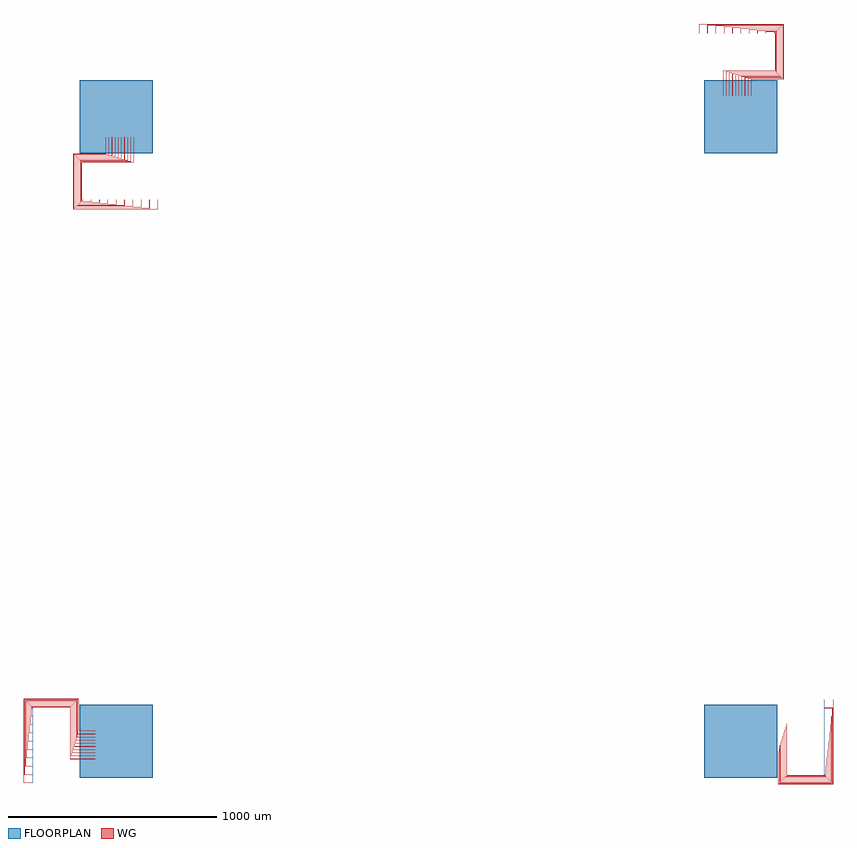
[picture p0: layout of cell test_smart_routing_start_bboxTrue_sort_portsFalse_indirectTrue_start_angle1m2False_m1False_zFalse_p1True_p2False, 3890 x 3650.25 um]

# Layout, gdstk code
import gdstk
lib = gdstk.Library(unit=1e-6, precision=1e-09)
def R(c, l, rs):  # rectangles x0, y0, x1, y1
    for r in rs: c.add(gdstk.rectangle(r[:2], r[2:], *l))
def P(c, l, *ps):  # polygons
    for p in ps: c.add(gdstk.Polygon(p, *l))
WG = (1, 0)
FLOORPLAN = (10, 0)

test_smart_routing_start = lib.new_cell('test_smart_routing_start_bboxTrue_sort_portsFalse_indirectTrue_start_angle1m2False_m1False_zFalse_p1True_p2False')
P(test_smart_routing_start, WG, [(-444.7,-199.95),(-444.7,204.95),(-179.3,204.95),(-179.3,49.95),(-100,49.95),(-100,49.75),(-179.5,49.75),(-179.5,204.75),(-444.5,204.75),(-444.5,-199.75),(-400,-199.75),(-400,-199.95)],
  [(-445,-200.25),(-445,205.25),(-179,205.25),(-179,50.25),(-100,50.25),(-100,50.05),(-179.2,50.05),(-179.2,205.05),(-444.8,205.05),(-444.8,-200.05),(-400,-200.05),(-400,-200.25)],
  [(-440.2,-159.95),(-440.2,200.45),(-183.8,200.45),(-183.8,34.95),(-100,34.95),(-100,34.75),(-184,34.75),(-184,200.25),(-440,200.25),(-440,-159.75),(-400,-159.75),(-400,-159.95)],
  [(-440.5,-160.25),(-440.5,200.75),(-183.5,200.75),(-183.5,35.25),(-100,35.25),(-100,35.05),(-183.7,35.05),(-183.7,200.55),(-440.3,200.55),(-440.3,-160.05),(-400,-160.05),(-400,-160.25)],
  [(-435.7,-119.95),(-435.7,195.95),(-188.3,195.95),(-188.3,19.95),(-100,19.95),(-100,19.75),(-188.5,19.75),(-188.5,195.75),(-435.5,195.75),(-435.5,-119.75),(-400,-119.75),(-400,-119.95)],
  [(-436,-120.25),(-436,196.25),(-188,196.25),(-188,20.25),(-100,20.25),(-100,20.05),(-188.2,20.05),(-188.2,196.05),(-435.8,196.05),(-435.8,-120.05),(-400,-120.05),(-400,-120.25)],
  [(-431.2,-79.95),(-431.2,191.45),(-192.8,191.45),(-192.8,4.95),(-100,4.95),(-100,4.75),(-193,4.75),(-193,191.25),(-431,191.25),(-431,-79.75),(-400,-79.75),(-400,-79.95)],
  [(-431.5,-80.25),(-431.5,191.75),(-192.5,191.75),(-192.5,5.25),(-100,5.25),(-100,5.05),(-192.7,5.05),(-192.7,191.55),(-431.3,191.55),(-431.3,-80.05),(-400,-80.05),(-400,-80.25)],
  [(-426.7,-39.95),(-426.7,186.95),(-197.3,186.95),(-197.3,-10.05),(-100,-10.05),(-100,-10.25),(-197.5,-10.25),(-197.5,186.75),(-426.5,186.75),(-426.5,-39.75),(-400,-39.75),(-400,-39.95)],
  [(-427,-40.25),(-427,187.25),(-197,187.25),(-197,-9.75),(-100,-9.75),(-100,-9.95),(-197.2,-9.95),(-197.2,187.05),(-426.8,187.05),(-426.8,-40.05),(-400,-40.05),(-400,-40.25)],
  [(-202,-25.25),(-202,182.25),(-422,182.25),(-422,0.25),(-400,0.25),(-400,0.05),(-422.2,0.05),(-422.2,182.45),(-201.8,182.45),(-201.8,-25.05),(-100,-25.05),(-100,-25.25)],
  [(-201.7,-24.95),(-201.7,182.55),(-422.3,182.55),(-422.3,-0.05),(-400,-0.05),(-400,-0.25),(-422.5,-0.25),(-422.5,182.75),(-201.5,182.75),(-201.5,-24.75),(-100,-24.75),(-100,-24.95)],
  [(-206.5,-40.25),(-206.5,177.75),(-417.5,177.75),(-417.5,40.25),(-400,40.25),(-400,40.05),(-417.7,40.05),(-417.7,177.95),(-206.3,177.95),(-206.3,-40.05),(-100,-40.05),(-100,-40.25)],
  [(-206.2,-39.95),(-206.2,178.05),(-417.8,178.05),(-417.8,39.95),(-400,39.95),(-400,39.75),(-418,39.75),(-418,178.25),(-206,178.25),(-206,-39.75),(-100,-39.75),(-100,-39.95)],
  [(-211,-55.25),(-211,173.25),(-413,173.25),(-413,80.25),(-400,80.25),(-400,80.05),(-413.2,80.05),(-413.2,173.45),(-210.8,173.45),(-210.8,-55.05),(-100,-55.05),(-100,-55.25)],
  [(-210.7,-54.95),(-210.7,173.55),(-413.3,173.55),(-413.3,79.95),(-400,79.95),(-400,79.75),(-413.5,79.75),(-413.5,173.75),(-210.5,173.75),(-210.5,-54.75),(-100,-54.75),(-100,-54.95)],
  [(-215.5,-70.25),(-215.5,168.75),(-408.5,168.75),(-408.5,120.25),(-400,120.25),(-400,120.05),(-408.7,120.05),(-408.7,168.95),(-215.3,168.95),(-215.3,-70.05),(-100,-70.05),(-100,-70.25)],
  [(-215.2,-69.95),(-215.2,169.05),(-408.8,169.05),(-408.8,119.95),(-400,119.95),(-400,119.75),(-409,119.75),(-409,169.25),(-215,169.25),(-215,-69.75),(-100,-69.75),(-100,-69.95)],
  [(-220,-85.25),(-220,164.25),(-404,164.25),(-404,160.25),(-400,160.25),(-400,160.05),(-404.2,160.05),(-404.2,164.45),(-219.8,164.45),(-219.8,-85.05),(-100,-85.05),(-100,-85.25)],
  [(-219.7,-84.95),(-219.7,164.55),(-404.3,164.55),(-404.3,159.95),(-400,159.95),(-400,159.75),(-404.5,159.75),(-404.5,164.75),(-219.5,164.75),(-219.5,-84.75),(-100,-84.75),(-100,-84.95)],
  [(-205.25,2555),(-205.25,2821),(-50.25,2821),(-50.25,2900),(-50.05,2900),(-50.05,2820.8),(-205.05,2820.8),(-205.05,2555.2),(200.05,2555.2),(200.05,2600),(200.25,2600),(200.25,2555)],
  [(-204.95,2555.3),(-204.95,2820.7),(-49.95,2820.7),(-49.95,2900),(-49.75,2900),(-49.75,2820.5),(-204.75,2820.5),(-204.75,2555.5),(199.75,2555.5),(199.75,2600),(199.95,2600),(199.95,2555.3)],
  [(-200.75,2559.5),(-200.75,2816.5),(-35.25,2816.5),(-35.25,2900),(-35.05,2900),(-35.05,2816.3),(-200.55,2816.3),(-200.55,2559.7),(160.05,2559.7),(160.05,2600),(160.25,2600),(160.25,2559.5)],
  [(-200.45,2559.8),(-200.45,2816.2),(-34.95,2816.2),(-34.95,2900),(-34.75,2900),(-34.75,2816),(-200.25,2816),(-200.25,2560),(159.75,2560),(159.75,2600),(159.95,2600),(159.95,2559.8)],
  [(-196.25,2564),(-196.25,2812),(-20.25,2812),(-20.25,2900),(-20.05,2900),(-20.05,2811.8),(-196.05,2811.8),(-196.05,2564.2),(120.05,2564.2),(120.05,2600),(120.25,2600),(120.25,2564)],
  [(-195.95,2564.3),(-195.95,2811.7),(-19.95,2811.7),(-19.95,2900),(-19.75,2900),(-19.75,2811.5),(-195.75,2811.5),(-195.75,2564.5),(119.75,2564.5),(119.75,2600),(119.95,2600),(119.95,2564.3)],
  [(-191.75,2568.5),(-191.75,2807.5),(-5.25,2807.5),(-5.25,2900),(-5.05,2900),(-5.05,2807.3),(-191.55,2807.3),(-191.55,2568.7),(80.05,2568.7),(80.05,2600),(80.25,2600),(80.25,2568.5)],
  [(-191.45,2568.8),(-191.45,2807.2),(-4.95,2807.2),(-4.95,2900),(-4.75,2900),(-4.75,2807),(-191.25,2807),(-191.25,2569),(79.75,2569),(79.75,2600),(79.95,2600),(79.95,2568.8)],
  [(-187.25,2573),(-187.25,2803),(9.75,2803),(9.75,2900),(9.95,2900),(9.95,2802.8),(-187.05,2802.8),(-187.05,2573.2),(40.05,2573.2),(40.05,2600),(40.25,2600),(40.25,2573)],
  [(-186.95,2573.3),(-186.95,2802.7),(10.05,2802.7),(10.05,2900),(10.25,2900),(10.25,2802.5),(-186.75,2802.5),(-186.75,2573.5),(39.75,2573.5),(39.75,2600),(39.95,2600),(39.95,2573.3)],
  [(-182.75,2577.5),(-182.75,2798.5),(24.75,2798.5),(24.75,2900),(24.95,2900),(24.95,2798.3),(-182.55,2798.3),(-182.55,2577.7),(0.05,2577.7),(0.05,2600),(0.25,2600),(0.25,2577.5)],
  [(-182.45,2577.8),(-182.45,2798.2),(25.05,2798.2),(25.05,2900),(25.25,2900),(25.25,2798),(-182.25,2798),(-182.25,2578),(-0.25,2578),(-0.25,2600),(-0.05,2600),(-0.05,2577.8)],
  [(-178.25,2582),(-178.25,2794),(39.75,2794),(39.75,2900),(39.95,2900),(39.95,2793.8),(-178.05,2793.8),(-178.05,2582.2),(-39.95,2582.2),(-39.95,2600),(-39.75,2600),(-39.75,2582)],
  [(-177.95,2582.3),(-177.95,2793.7),(40.05,2793.7),(40.05,2900),(40.25,2900),(40.25,2793.5),(-177.75,2793.5),(-177.75,2582.5),(-40.25,2582.5),(-40.25,2600),(-40.05,2600),(-40.05,2582.3)],
  [(-173.75,2586.5),(-173.75,2789.5),(54.75,2789.5),(54.75,2900),(54.95,2900),(54.95,2789.3),(-173.55,2789.3),(-173.55,2586.7),(-79.95,2586.7),(-79.95,2600),(-79.75,2600),(-79.75,2586.5)],
  [(-173.45,2586.8),(-173.45,2789.2),(55.05,2789.2),(55.05,2900),(55.25,2900),(55.25,2789),(-173.25,2789),(-173.25,2587),(-80.25,2587),(-80.25,2600),(-80.05,2600),(-80.05,2586.8)],
  [(-169.25,2591),(-169.25,2785),(69.75,2785),(69.75,2900),(69.95,2900),(69.95,2784.8),(-169.05,2784.8),(-169.05,2591.2),(-119.95,2591.2),(-119.95,2600),(-119.75,2600),(-119.75,2591)],
  [(-168.95,2591.3),(-168.95,2784.7),(70.05,2784.7),(70.05,2900),(70.25,2900),(70.25,2784.5),(-168.75,2784.5),(-168.75,2591.5),(-120.25,2591.5),(-120.25,2600),(-120.05,2600),(-120.05,2591.3)],
  [(-164.75,2595.5),(-164.75,2780.5),(84.75,2780.5),(84.75,2900),(84.95,2900),(84.95,2780.3),(-164.55,2780.3),(-164.55,2595.7),(-159.95,2595.7),(-159.95,2600),(-159.75,2600),(-159.75,2595.5)],
  [(-164.45,2595.8),(-164.45,2780.2),(85.05,2780.2),(85.05,2900),(85.25,2900),(85.25,2780),(-164.25,2780),(-164.25,2596),(-160.25,2596),(-160.25,2600),(-160.05,2600),(-160.05,2595.8)],
  [(3179.3,-204.95),(3179.3,-49.95),(3100,-49.95),(3100,-49.75),(3179.5,-49.75),(3179.5,-204.75),(3444.5,-204.75),(3444.5,199.75),(3400,199.75),(3400,199.95),(3444.7,199.95),(3444.7,-204.95)],
  [(3179,-205.25),(3179,-50.25),(3100,-50.25),(3100,-50.05),(3179.2,-50.05),(3179.2,-205.05),(3444.8,-205.05),(3444.8,200.05),(3400,200.05),(3400,200.25),(3445,200.25),(3445,-205.25)],
  [(3183.8,-200.45),(3183.8,-34.95),(3100,-34.95),(3100,-34.75),(3184,-34.75),(3184,-200.25),(3440,-200.25),(3440,159.75),(3400,159.75),(3400,159.95),(3440.2,159.95),(3440.2,-200.45)],
  [(3183.5,-200.75),(3183.5,-35.25),(3100,-35.25),(3100,-35.05),(3183.7,-35.05),(3183.7,-200.55),(3440.3,-200.55),(3440.3,160.05),(3400,160.05),(3400,160.25),(3440.5,160.25),(3440.5,-200.75)],
  [(3188.3,-195.95),(3188.3,-19.95),(3100,-19.95),(3100,-19.75),(3188.5,-19.75),(3188.5,-195.75),(3435.5,-195.75),(3435.5,119.75),(3400,119.75),(3400,119.95),(3435.7,119.95),(3435.7,-195.95)],
  [(3188,-196.25),(3188,-20.25),(3100,-20.25),(3100,-20.05),(3188.2,-20.05),(3188.2,-196.05),(3435.8,-196.05),(3435.8,120.05),(3400,120.05),(3400,120.25),(3436,120.25),(3436,-196.25)],
  [(3192.8,-191.45),(3192.8,-4.95),(3100,-4.95),(3100,-4.75),(3193,-4.75),(3193,-191.25),(3431,-191.25),(3431,79.75),(3400,79.75),(3400,79.95),(3431.2,79.95),(3431.2,-191.45)],
  [(3192.5,-191.75),(3192.5,-5.25),(3100,-5.25),(3100,-5.05),(3192.7,-5.05),(3192.7,-191.55),(3431.3,-191.55),(3431.3,80.05),(3400,80.05),(3400,80.25),(3431.5,80.25),(3431.5,-191.75)],
  [(3197.3,-186.95),(3197.3,10.05),(3100,10.05),(3100,10.25),(3197.5,10.25),(3197.5,-186.75),(3426.5,-186.75),(3426.5,39.75),(3400,39.75),(3400,39.95),(3426.7,39.95),(3426.7,-186.95)],
  [(3197,-187.25),(3197,9.75),(3100,9.75),(3100,9.95),(3197.2,9.95),(3197.2,-187.05),(3426.8,-187.05),(3426.8,40.05),(3400,40.05),(3400,40.25),(3427,40.25),(3427,-187.25)],
  [(3201.5,-182.75),(3201.5,24.75),(3100,24.75),(3100,24.95),(3201.7,24.95),(3201.7,-182.55),(3422.3,-182.55),(3422.3,0.05),(3400,0.05),(3400,0.25),(3422.5,0.25),(3422.5,-182.75)],
  [(3201.8,-182.45),(3201.8,25.05),(3100,25.05),(3100,25.25),(3202,25.25),(3202,-182.25),(3422,-182.25),(3422,-0.25),(3400,-0.25),(3400,-0.05),(3422.2,-0.05),(3422.2,-182.45)],
  [(3206,-178.25),(3206,39.75),(3100,39.75),(3100,39.95),(3206.2,39.95),(3206.2,-178.05),(3417.8,-178.05),(3417.8,-39.95),(3400,-39.95),(3400,-39.75),(3418,-39.75),(3418,-178.25)],
  [(3206.3,-177.95),(3206.3,40.05),(3100,40.05),(3100,40.25),(3206.5,40.25),(3206.5,-177.75),(3417.5,-177.75),(3417.5,-40.25),(3400,-40.25),(3400,-40.05),(3417.7,-40.05),(3417.7,-177.95)],
  [(3210.5,-173.75),(3210.5,54.75),(3100,54.75),(3100,54.95),(3210.7,54.95),(3210.7,-173.55),(3413.3,-173.55),(3413.3,-79.95),(3400,-79.95),(3400,-79.75),(3413.5,-79.75),(3413.5,-173.75)],
  [(3210.8,-173.45),(3210.8,55.05),(3100,55.05),(3100,55.25),(3211,55.25),(3211,-173.25),(3413,-173.25),(3413,-80.25),(3400,-80.25),(3400,-80.05),(3413.2,-80.05),(3413.2,-173.45)],
  [(3215,-169.25),(3215,69.75),(3100,69.75),(3100,69.95),(3215.2,69.95),(3215.2,-169.05),(3408.8,-169.05),(3408.8,-119.95),(3400,-119.95),(3400,-119.75),(3409,-119.75),(3409,-169.25)],
  [(3215.3,-168.95),(3215.3,70.05),(3100,70.05),(3100,70.25),(3215.5,70.25),(3215.5,-168.75),(3408.5,-168.75),(3408.5,-120.25),(3400,-120.25),(3400,-120.05),(3408.7,-120.05),(3408.7,-168.95)],
  [(3219.5,-164.75),(3219.5,84.75),(3100,84.75),(3100,84.95),(3219.7,84.95),(3219.7,-164.55),(3404.3,-164.55),(3404.3,-159.95),(3400,-159.95),(3400,-159.75),(3404.5,-159.75),(3404.5,-164.75)],
  [(3219.8,-164.45),(3219.8,85.05),(3100,85.05),(3100,85.25),(3220,85.25),(3220,-164.25),(3404,-164.25),(3404,-160.25),(3400,-160.25),(3400,-160.05),(3404.2,-160.05),(3404.2,-164.45)],
  [(3049.75,3100),(3049.75,3179.5),(3204.75,3179.5),(3204.75,3444.5),(2800.25,3444.5),(2800.25,3400),(2800.05,3400),(2800.05,3444.7),(3204.95,3444.7),(3204.95,3179.3),(3049.95,3179.3),(3049.95,3100)],
  [(3050.05,3100),(3050.05,3179.2),(3205.05,3179.2),(3205.05,3444.8),(2799.95,3444.8),(2799.95,3400),(2799.75,3400),(2799.75,3445),(3205.25,3445),(3205.25,3179),(3050.25,3179),(3050.25,3100)],
  [(3034.75,3100),(3034.75,3184),(3200.25,3184),(3200.25,3440),(2840.25,3440),(2840.25,3400),(2840.05,3400),(2840.05,3440.2),(3200.45,3440.2),(3200.45,3183.8),(3034.95,3183.8),(3034.95,3100)],
  [(3035.05,3100),(3035.05,3183.7),(3200.55,3183.7),(3200.55,3440.3),(2839.95,3440.3),(2839.95,3400),(2839.75,3400),(2839.75,3440.5),(3200.75,3440.5),(3200.75,3183.5),(3035.25,3183.5),(3035.25,3100)],
  [(3019.75,3100),(3019.75,3188.5),(3195.75,3188.5),(3195.75,3435.5),(2880.25,3435.5),(2880.25,3400),(2880.05,3400),(2880.05,3435.7),(3195.95,3435.7),(3195.95,3188.3),(3019.95,3188.3),(3019.95,3100)],
  [(3020.05,3100),(3020.05,3188.2),(3196.05,3188.2),(3196.05,3435.8),(2879.95,3435.8),(2879.95,3400),(2879.75,3400),(2879.75,3436),(3196.25,3436),(3196.25,3188),(3020.25,3188),(3020.25,3100)],
  [(3004.75,3100),(3004.75,3193),(3191.25,3193),(3191.25,3431),(2920.25,3431),(2920.25,3400),(2920.05,3400),(2920.05,3431.2),(3191.45,3431.2),(3191.45,3192.8),(3004.95,3192.8),(3004.95,3100)],
  [(3005.05,3100),(3005.05,3192.7),(3191.55,3192.7),(3191.55,3431.3),(2919.95,3431.3),(2919.95,3400),(2919.75,3400),(2919.75,3431.5),(3191.75,3431.5),(3191.75,3192.5),(3005.25,3192.5),(3005.25,3100)],
  [(2989.75,3100),(2989.75,3197.5),(3186.75,3197.5),(3186.75,3426.5),(2960.25,3426.5),(2960.25,3400),(2960.05,3400),(2960.05,3426.7),(3186.95,3426.7),(3186.95,3197.3),(2989.95,3197.3),(2989.95,3100)],
  [(2990.05,3100),(2990.05,3197.2),(3187.05,3197.2),(3187.05,3426.8),(2959.95,3426.8),(2959.95,3400),(2959.75,3400),(2959.75,3427),(3187.25,3427),(3187.25,3197),(2990.25,3197),(2990.25,3100)],
  [(2974.75,3100),(2974.75,3202),(3182.25,3202),(3182.25,3422),(3000.25,3422),(3000.25,3400),(3000.05,3400),(3000.05,3422.2),(3182.45,3422.2),(3182.45,3201.8),(2974.95,3201.8),(2974.95,3100)],
  [(2975.05,3100),(2975.05,3201.7),(3182.55,3201.7),(3182.55,3422.3),(2999.95,3422.3),(2999.95,3400),(2999.75,3400),(2999.75,3422.5),(3182.75,3422.5),(3182.75,3201.5),(2975.25,3201.5),(2975.25,3100)],
  [(2959.75,3100),(2959.75,3206.5),(3177.75,3206.5),(3177.75,3417.5),(3040.25,3417.5),(3040.25,3400),(3040.05,3400),(3040.05,3417.7),(3177.95,3417.7),(3177.95,3206.3),(2959.95,3206.3),(2959.95,3100)],
  [(2960.05,3100),(2960.05,3206.2),(3178.05,3206.2),(3178.05,3417.8),(3039.95,3417.8),(3039.95,3400),(3039.75,3400),(3039.75,3418),(3178.25,3418),(3178.25,3206),(2960.25,3206),(2960.25,3100)],
  [(2944.75,3100),(2944.75,3211),(3173.25,3211),(3173.25,3413),(3080.25,3413),(3080.25,3400),(3080.05,3400),(3080.05,3413.2),(3173.45,3413.2),(3173.45,3210.8),(2944.95,3210.8),(2944.95,3100)],
  [(2945.05,3100),(2945.05,3210.7),(3173.55,3210.7),(3173.55,3413.3),(3079.95,3413.3),(3079.95,3400),(3079.75,3400),(3079.75,3413.5),(3173.75,3413.5),(3173.75,3210.5),(2945.25,3210.5),(2945.25,3100)],
  [(2929.75,3100),(2929.75,3215.5),(3168.75,3215.5),(3168.75,3408.5),(3120.25,3408.5),(3120.25,3400),(3120.05,3400),(3120.05,3408.7),(3168.95,3408.7),(3168.95,3215.3),(2929.95,3215.3),(2929.95,3100)],
  [(2930.05,3100),(2930.05,3215.2),(3169.05,3215.2),(3169.05,3408.8),(3119.95,3408.8),(3119.95,3400),(3119.75,3400),(3119.75,3409),(3169.25,3409),(3169.25,3215),(2930.25,3215),(2930.25,3100)],
  [(2914.75,3100),(2914.75,3220),(3164.25,3220),(3164.25,3404),(3160.25,3404),(3160.25,3400),(3160.05,3400),(3160.05,3404.2),(3164.45,3404.2),(3164.45,3219.8),(2914.95,3219.8),(2914.95,3100)],
  [(2915.05,3100),(2915.05,3219.7),(3164.55,3219.7),(3164.55,3404.3),(3159.95,3404.3),(3159.95,3400),(3159.75,3400),(3159.75,3404.5),(3164.75,3404.5),(3164.75,3219.5),(2915.25,3219.5),(2915.25,3100)])
R(test_smart_routing_start, FLOORPLAN, [(-175,-175,175,175), (2825,-175,3175,175), (-175,2825,175,3175), (2825,2825,3175,3175)])
P(test_smart_routing_start, FLOORPLAN, [(-400,-200),(-400,160),(-400,160),(-400,-200)],
  [(-160,2600),(-160,2600),(200,2600),(200,2600)],
  [(3400,-160),(3400,200),(3400,200),(3400,-160)],
  [(2800,3400),(2800,3400),(3160,3400),(3160,3400)])

lib.write_gds('test_smart_routing_start_bboxTrue_sort_portsFalse_indirectTrue_start_angle1m2False_m1False_zFalse_p1True_p2False.gds')
